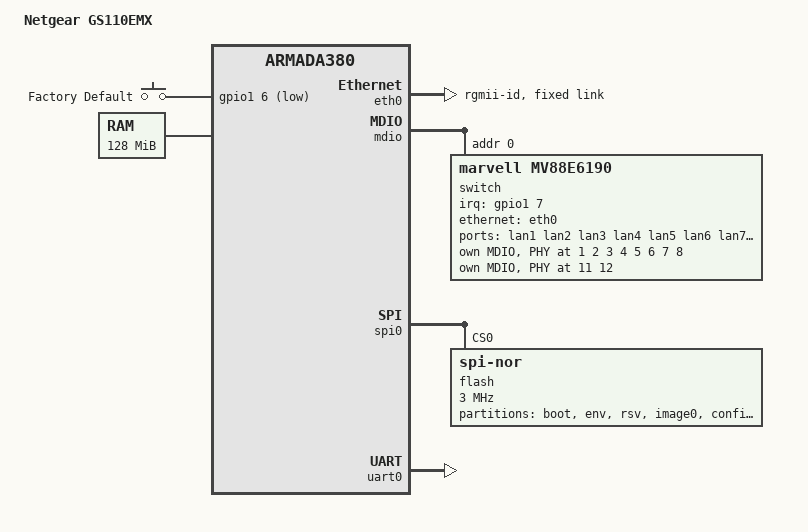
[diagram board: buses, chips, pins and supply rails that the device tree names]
// SPDX-License-Identifier: GPL-2.0-or-later OR MIT
/* Copyright (c) 2021, Marcel Ziswiler <marcel@ziswiler.com> */

/dts-v1/;
#include "armada-385.dtsi"
#include <dt-bindings/gpio/gpio.h>
#include <dt-bindings/input/input.h>

/ {
	model = "Netgear GS110EMX";
	compatible = "netgear,gs110emx", "marvell,armada380";

	aliases {
		/* So that mvebu u-boot can update the MAC addresses */
		ethernet1 = &eth0;
	};

	chosen {
		stdout-path = "serial0:115200n8";
	};

	gpio-keys {
		compatible = "gpio-keys";
		pinctrl-0 = <&front_button_pins>;
		pinctrl-names = "default";

		key-factory-default {
			label = "Factory Default";
			gpios = <&gpio1 6 GPIO_ACTIVE_LOW>;
			linux,code = <KEY_RESTART>;
		};
	};

	memory {
		device_type = "memory";
		reg = <0x00000000 0x08000000>; /* 128 MB */
	};

	soc {
		ranges = <MBUS_ID(0xf0, 0x01) 0 0xf1000000 0x100000
			  MBUS_ID(0x01, 0x1d) 0 0xfff00000 0x100000
			  MBUS_ID(0x09, 0x19) 0 0xf1100000 0x10000
			  MBUS_ID(0x09, 0x15) 0 0xf1110000 0x10000
			  MBUS_ID(0x0c, 0x04) 0 0xf1200000 0x100000>;

		internal-regs {
			rtc@a3800 {
				/*
				 * If the rtc doesn't work, run "date reset"
				 * twice in u-boot.
				 */
				status = "okay";
			};
		};
	};
};

&eth0 {
	/* ethernet@70000 */
	bm,pool-long = <0>;
	bm,pool-short = <1>;
	buffer-manager = <&bm>;
	phy-mode = "rgmii-id";
	pinctrl-0 = <&ge0_rgmii_pins>;
	pinctrl-names = "default";
	status = "okay";

	fixed-link {
		full-duplex;
		pause;
		speed = <1000>;
	};
};

&mdio {
	pinctrl-names = "default";
	pinctrl-0 = <&mdio_pins>;
	status = "okay";

	switch@0 {
		compatible = "marvell,mv88e6190";
		#address-cells = <1>;
		#interrupt-cells = <2>;
		interrupt-controller;
		interrupt-parent = <&gpio1>;
		interrupts = <7 IRQ_TYPE_LEVEL_LOW>;
		pinctrl-0 = <&switch_interrupt_pins>;
		pinctrl-names = "default";
		#size-cells = <0>;
		reg = <0>;

		mdio {
			#address-cells = <1>;
			#size-cells = <0>;

			switch0phy1: switch0phy1@1 {
				reg = <0x1>;
			};

			switch0phy2: switch0phy2@2 {
				reg = <0x2>;
			};

			switch0phy3: switch0phy3@3 {
				reg = <0x3>;
			};

			switch0phy4: switch0phy4@4 {
				reg = <0x4>;
			};

			switch0phy5: switch0phy5@5 {
				reg = <0x5>;
			};

			switch0phy6: switch0phy6@6 {
				reg = <0x6>;
			};

			switch0phy7: switch0phy7@7 {
				reg = <0x7>;
			};

			switch0phy8: switch0phy8@8 {
				reg = <0x8>;
			};
		};

		mdio-external {
			compatible = "marvell,mv88e6xxx-mdio-external";
			#address-cells = <1>;
			#size-cells = <0>;

			phy1: ethernet-phy@b {
				reg = <0xb>;
				compatible = "ethernet-phy-ieee802.3-c45";
			};

			phy2: ethernet-phy@c {
				reg = <0xc>;
				compatible = "ethernet-phy-ieee802.3-c45";
			};
		};

		ports {
			#address-cells = <1>;
			#size-cells = <0>;

			port@0 {
				ethernet = <&eth0>;
				phy-mode = "rgmii";
				reg = <0>;

				fixed-link {
					full-duplex;
					pause;
					speed = <1000>;
				};
			};

			port@1 {
				label = "lan1";
				phy-handle = <&switch0phy1>;
				reg = <1>;
			};

			port@2 {
				label = "lan2";
				phy-handle = <&switch0phy2>;
				reg = <2>;
			};

			port@3 {
				label = "lan3";
				phy-handle = <&switch0phy3>;
				reg = <3>;
			};

			port@4 {
				label = "lan4";
				phy-handle = <&switch0phy4>;
				reg = <4>;
			};

			port@5 {
				label = "lan5";
				phy-handle = <&switch0phy5>;
				reg = <5>;
			};

			port@6 {
				label = "lan6";
				phy-handle = <&switch0phy6>;
				reg = <6>;
			};

			port@7 {
				label = "lan7";
				phy-handle = <&switch0phy7>;
				reg = <7>;
			};

			port@8 {
				label = "lan8";
				phy-handle = <&switch0phy8>;
				reg = <8>;
			};

			port@9 {
				/* 88X3310P external phy */
				label = "lan9";
				phy-handle = <&phy1>;
				phy-mode = "xaui";
				reg = <9>;
			};

			port@a {
				/* 88X3310P external phy */
				label = "lan10";
				phy-handle = <&phy2>;
				phy-mode = "xaui";
				reg = <0xa>;
			};
		};
	};
};

&pinctrl {
	front_button_pins: front-button-pins {
		marvell,pins = "mpp38";
		marvell,function = "gpio";
	};

	switch_interrupt_pins: switch-interrupt-pins {
		marvell,pins = "mpp39";
		marvell,function = "gpio";
	};
};

&spi0 {
	pinctrl-0 = <&spi0_pins>;
	pinctrl-names = "default";
	status = "okay";

	flash@0 {
		#address-cells = <1>;
		#size-cells = <1>;
		compatible = "jedec,spi-nor";
		reg = <0>; /* Chip select 0 */
		spi-max-frequency = <3000000>;

		partitions {
			compatible = "fixed-partitions";
			#address-cells = <1>;
			#size-cells = <1>;

			partition@0 {
				label = "boot";
				read-only;
				reg = <0x00000000 0x00100000>;
			};

			partition@100000 {
				label = "env";
				reg = <0x00100000 0x00010000>;
			};

			partition@200000 {
				label = "rsv";
				reg = <0x00110000 0x00010000>;
			};

			partition@300000 {
				label = "image0";
				reg = <0x00120000 0x00900000>;
			};

			partition@400000 {
				label = "config";
				reg = <0x00a20000 0x00300000>;
			};

			partition@480000 {
				label = "debug";
				reg = <0x00d20000 0x002e0000>;
			};
		};
	};
};

&uart0 {
	pinctrl-0 = <&uart0_pins>;
	pinctrl-names = "default";
	status = "okay";
};
